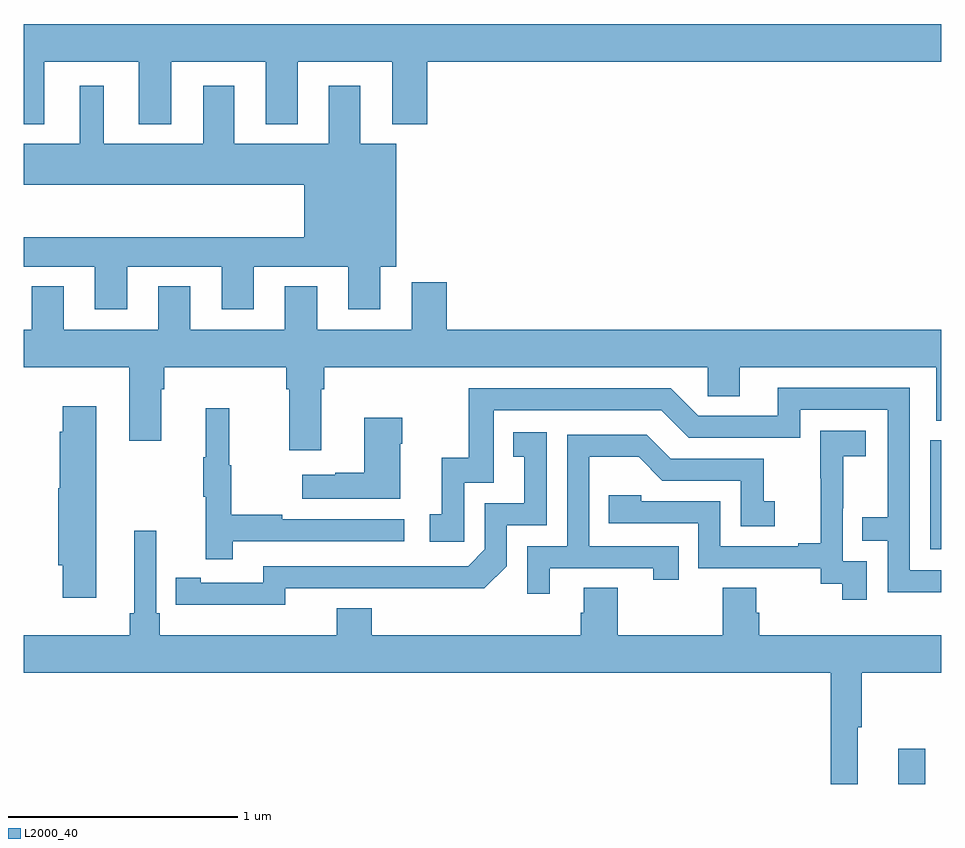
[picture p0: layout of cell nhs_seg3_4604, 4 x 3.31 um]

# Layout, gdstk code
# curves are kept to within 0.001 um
import gdstk
lib = gdstk.Library(unit=1e-6, precision=1e-09)
def R(c, l, rs):  # rectangles x0, y0, x1, y1
    for r in rs: c.add(gdstk.rectangle(r[:2], r[2:], *l))
def P(c, l, *ps):  # polygons
    for p in ps: c.add(gdstk.Polygon(p, *l))
L2000_40 = (2000, 40)

nhs_seg3_4604 = lib.new_cell('nhs_seg3_4604')
R(nhs_seg3_4604, L2000_40, [(360.812,732.4,360.929,732.553), (360.951,733.422,361,733.899)])
P(nhs_seg3_4604, L2000_40, [(357.091,735.548),(357.503,735.548),(357.503,735.275),(357.643,735.275),(357.643,735.548),(358.055,735.548),(358.055,735.275),(358.195,735.275),(358.195,735.548),(358.607,735.548),(358.607,735.275),(358.76,735.275),(358.76,735.548),(361,735.548),(361,735.712),(357,735.712),(357,735.275),(357.091,735.275)],
  [(357.451,734.654),(357.863,734.654),(357.863,734.469),(358.003,734.469),(358.003,734.654),(358.415,734.654),(358.415,734.469),(358.555,734.469),(358.555,734.654),(358.624,734.654),(358.624,735.19),(358.468,735.19),(358.468,735.442),(358.331,735.442),(358.331,735.19),(357.919,735.19),(357.919,735.442),(357.782,735.442),(357.782,735.19),(357.349,735.19),(357.349,735.442),(357.245,735.442),(357.245,735.19),(357,735.19),(357,735.011),(358.223,735.011),(358.223,734.782),(357,734.782),(357,734.654),(357.311,734.654),(357.311,734.469),(357.451,734.469)],
  [(358.297,734.12),(358.31,734.12),(358.31,734.216),(359.982,734.216),(359.982,734.089),(360.121,734.089),(360.121,734.216),(360.977,734.216),(360.977,733.984),(361,733.984),(361,734.38),(358.844,734.38),(358.844,734.587),(358.691,734.587),(358.691,734.38),(358.279,734.38),(358.279,734.569),(358.139,734.569),(358.139,734.38),(357.727,734.38),(357.727,734.569),(357.587,734.569),(357.587,734.38),(357.175,734.38),(357.175,734.569),(357.035,734.569),(357.035,734.38),(357,734.38),(357,734.216),(357.461,734.216),(357.461,733.896),(357.601,733.896),(357.601,734.12),(357.614,734.12),(357.614,734.216),(358.145,734.216),(358.145,734.12),(358.157,734.12),(358.157,733.854),(358.297,733.854)],
  [(361,733.332),(360.861,733.332),(360.861,734.127),(360.287,734.127),(360.287,734.004),(359.94,734.004),(359.82,734.124),(358.941,734.124),(358.941,733.822),(358.823,733.822),(358.823,733.575),(358.77,733.575),(358.77,733.455),(358.92,733.455),(358.92,733.713),(359.049,733.713),(359.049,734.028),(359.778,734.028),(359.898,733.908),(360.384,733.908),(360.384,734.031),(360.765,734.031),(360.765,733.562),(360.655,733.562),(360.655,733.461),(360.765,733.461),(360.765,733.236),(361,733.236)],
  [(357.316,734.047),(357.17,734.047),(357.17,733.934),(357.158,733.934),(357.158,733.689),(357.152,733.689),(357.152,733.353),(357.17,733.353),(357.17,733.212),(357.316,733.212)],
  [(357.911,733.458),(358.66,733.458),(358.66,733.554),(358.127,733.554),(358.127,733.574),(357.904,733.574),(357.904,733.788),(357.896,733.788),(357.896,734.038),(357.794,734.038),(357.794,733.825),(357.783,733.825),(357.783,733.651),(357.794,733.651),(357.794,733.38),(357.911,733.38)],
  [(358.642,733.883),(358.65,733.883),(358.65,733.996),(358.484,733.996),(358.484,733.757),(358.358,733.757),(358.358,733.747),(358.215,733.747),(358.215,733.643),(358.642,733.643)],
  [(360.675,733.371),(360.57,733.371),(360.57,733.601),(360.572,733.601),(360.572,733.829),(360.67,733.829),(360.67,733.939),(360.472,733.939),(360.472,733.733),(360.473,733.733),(360.473,733.45),(360.377,733.45),(360.377,733.437),(360.036,733.437),(360.036,733.632),(359.691,733.632),(359.691,733.659),(359.551,733.659),(359.551,733.536),(359.94,733.536),(359.94,733.341),(360.474,733.341),(360.474,733.273),(360.567,733.273),(360.567,733.203),(360.675,733.203)],
  [(358.14,733.254),(359.008,733.253),(359.106,733.35),(359.106,733.527),(359.28,733.527),(359.28,733.933),(359.134,733.933),(359.134,733.827),(359.183,733.827),(359.183,733.623),(359.01,733.623),(359.01,733.422),(358.938,733.35),(358.044,733.35),(358.044,733.278),(357.772,733.278),(357.772,733.298),(357.664,733.298),(357.664,733.182),(358.14,733.181)],
  [(359.293,733.341),(359.744,733.341),(359.744,733.29),(359.855,733.29),(359.855,733.437),(359.466,733.437),(359.466,733.826),(359.68,733.826),(359.784,733.722),(360.126,733.722),(360.126,733.524),(360.274,733.524),(360.274,733.633),(360.225,733.633),(360.225,733.818),(359.821,733.818),(359.716,733.923),(359.37,733.923),(359.37,733.437),(359.196,733.437),(359.196,733.23),(359.293,733.23)],
  [(360.635,732.648),(360.653,732.648),(360.653,732.884),(361,732.884),(361,733.048),(360.206,733.048),(360.206,733.146),(360.193,733.146),(360.193,733.256),(360.046,733.256),(360.046,733.048),(359.589,733.048),(359.589,733.256),(359.441,733.256),(359.441,733.146),(359.429,733.146),(359.429,733.048),(358.517,733.048),(358.517,733.165),(358.364,733.165),(358.364,733.048),(357.593,733.048),(357.593,733.144),(357.579,733.144),(357.579,733.504),(357.482,733.504),(357.482,733.144),(357.463,733.144),(357.463,733.048),(357,733.048),(357,732.884),(360.517,732.884),(360.517,732.4),(360.635,732.4)])

lib.write_gds('nhs_seg3_4604.gds')
